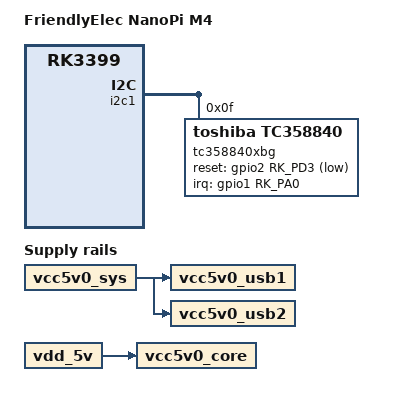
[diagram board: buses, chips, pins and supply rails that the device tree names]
// SPDX-License-Identifier: (GPL-2.0+ OR MIT)
/*
 * FriendlyElec NanoPi M4 board device tree source
 *
 * Copyright (c) 2018 FriendlyElec Computer Tech. Co., Ltd.
 * (http://www.friendlyarm.com)
 *
 * Copyright (c) 2018 Collabora Ltd.
 * Copyright (c) 2019 Arm Ltd.
 */

/dts-v1/;
#include "rk3399-nanopi4.dtsi"

/ {
	model = "FriendlyElec NanoPi M4";
	compatible = "friendlyarm,nanopi-m4", "rockchip,rk3399";

	vdd_5v: vdd-5v {
		compatible = "regulator-fixed";
		regulator-name = "vdd_5v";
		regulator-always-on;
		regulator-boot-on;
	};

	vcc5v0_core: vcc5v0-core {
		compatible = "regulator-fixed";
		regulator-name = "vcc5v0_core";
		regulator-always-on;
		regulator-boot-on;
		vin-supply = <&vdd_5v>;
	};

	vcc5v0_usb1: vcc5v0-usb1 {
		compatible = "regulator-fixed";
		regulator-name = "vcc5v0_usb1";
		regulator-always-on;
		regulator-boot-on;
		vin-supply = <&vcc5v0_sys>;
	};

	vcc5v0_usb2: vcc5v0-usb2 {
		compatible = "regulator-fixed";
		regulator-name = "vcc5v0_usb2";
		regulator-always-on;
		regulator-boot-on;
		vin-supply = <&vcc5v0_sys>;
	};

	tc358840_clk: tc358840-clk {
		compatible = "fixed-clock";
		#clock-cells = <0>;
		clock-frequency = <48000000>;
		clock-output-names = "tc358840-clk";
	};
};

&vcc3v3_sys {
	vin-supply = <&vcc5v0_core>;
};

&u2phy0_host {
	phy-supply = <&vcc5v0_usb1>;
};

&u2phy1_host {
	phy-supply = <&vcc5v0_usb2>;
};

&vbus_typec {
	regulator-always-on;
	vin-supply = <&vdd_5v>;
};

&status_led {
	linux,default-trigger = "default-on";
};

&i2c1 {
	// MIPI-CSI2 as HDMI IN
	tc358840xbg@f {
		compatible = "toshiba,tc358840";
		reg = <0x0f>;
		state = "okay";

		// MIPI_CSI0_RST
		reset-gpios = <&gpio2 RK_PD3 GPIO_ACTIVE_LOW>;

		interrupt-parent = <&gpio1>;
		interrupts = <RK_PA0 IRQ_TYPE_LEVEL_HIGH>; // jumper

		clocks      = <&tc358840_clk>;
		clock-names = "refclk";
		csi_port    = <1>;			// only TX0 enabled
		ddc5v_delay = <0>;			// disabled

		lineinitcnt    = <0x00000FA0>;
		lptxtimecnt    = <0x00000004>;
		tclk_headercnt = <0x00180203>;
		tclk_trailcnt  = <0x00040005>;
		ths_headercnt  = <0x000D0004>;
		twakeup        = <0x00003E80>;
		tclk_postcnt   = <0x0000000A>;
		ths_trailcnt   = <0x00080006>;
		hstxvregcnt    = <0x00000020>;
		btacnt         = <0x00040003>;

		/* Bps per lane is (refclk_hz / (prd + 1) * (fbd + 1)) / 2^frs */
		pll_prd = <10>;
		pll_frs = <1>;
		pll_fbd = <125>;

		port {
			tc358840xbg_out: endpoint {
				// mipi@ff960000 => MIPI_DST (MIPI_TX0)
				// mipi@ff968000 => MIPI_?   (MIPI_???)
				// spi0@??? => MIPI_?
				// spi1@??? => MIPI_?
				// remote-endpoint = <&spi0>;
				clock-lanes = <0>;
				data-lanes = <1 2 3 4>;
			};
		};
	};
};
